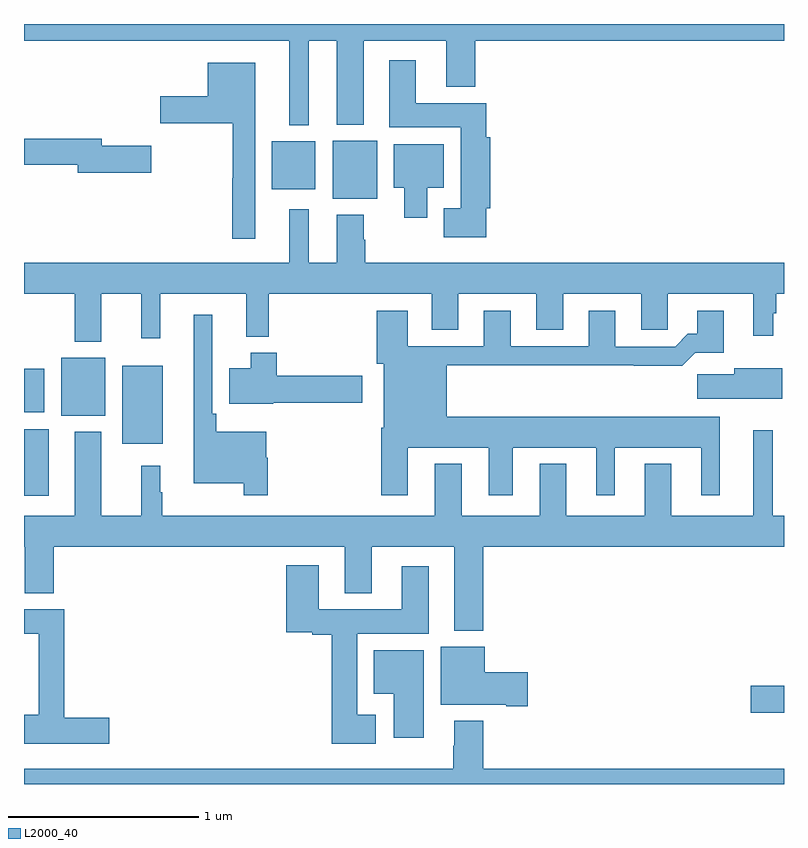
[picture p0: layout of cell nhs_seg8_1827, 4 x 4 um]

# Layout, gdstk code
import gdstk
lib = gdstk.Library(unit=1e-6, precision=1e-09)
def R(c, l, rs):  # rectangles x0, y0, x1, y1
    for r in rs: c.add(gdstk.rectangle(r[:2], r[2:], *l))
def P(c, l, *ps):  # polygons
    for p in ps: c.add(gdstk.Polygon(p, *l))
L2000_40 = (2000, 40)

nhs_seg8_1827 = lib.new_cell('nhs_seg8_1827')
R(nhs_seg8_1827, L2000_40, [(230.826,1134.274,231,1134.416), (227,1135.416,227.131,1135.768), (227.516,1135.691,227.731,1136.101), (227.195,1135.838,227.428,1136.143), (227,1135.856,227.107,1136.086), (228.626,1136.981,228.859,1137.286), (228.305,1137.029,228.532,1137.283)])
P(nhs_seg8_1827, L2000_40, [(228.499,1137.812),(228.647,1137.812),(228.647,1137.371),(228.787,1137.371),(228.787,1137.812),(229.223,1137.812),(229.223,1137.569),(229.376,1137.569),(229.376,1137.812),(231,1137.812),(231,1137.9),(227,1137.9),(227,1137.812),(228.395,1137.812),(228.395,1137.368),(228.499,1137.368)],
  [(229.433,1136.931),(229.454,1136.931),(229.454,1137.303),(229.433,1137.303),(229.433,1137.484),(229.063,1137.484),(229.063,1137.709),(228.923,1137.709),(228.923,1137.356),(229.298,1137.356),(229.298,1136.929),(229.208,1136.929),(229.208,1136.777),(229.433,1136.777)],
  [(228.217,1137.697),(227.966,1137.697),(227.966,1137.519),(227.718,1137.519),(227.718,1137.377),(228.098,1137.377),(228.098,1137.087),(228.096,1137.087),(228.096,1136.769),(228.217,1136.769)],
  [(227.671,1137.26),(227.41,1137.26),(227.41,1137.296),(227,1137.296),(227,1137.16),(227.282,1137.16),(227.282,1137.118),(227.671,1137.118)],
  [(229.123,1137.038),(229.21,1137.038),(229.21,1137.268),(228.947,1137.268),(228.947,1137.038),(229.001,1137.038),(229.001,1136.88),(229.123,1136.88)],
  [(227.407,1136.48),(227.618,1136.48),(227.618,1136.247),(227.717,1136.247),(227.717,1136.48),(228.17,1136.48),(228.17,1136.255),(228.287,1136.255),(228.287,1136.48),(229.145,1136.48),(229.145,1136.29),(229.285,1136.29),(229.285,1136.48),(229.697,1136.48),(229.697,1136.29),(229.837,1136.29),(229.837,1136.48),(230.249,1136.48),(230.249,1136.29),(230.388,1136.29),(230.388,1136.48),(230.837,1136.48),(230.837,1136.259),(230.944,1136.259),(230.944,1136.378),(230.959,1136.378),(230.959,1136.48),(231,1136.48),(231,1136.644),(228.795,1136.644),(228.795,1136.765),(228.787,1136.765),(228.787,1136.896),(228.647,1136.896),(228.647,1136.644),(228.499,1136.644),(228.499,1136.926),(228.395,1136.926),(228.395,1136.644),(227,1136.644),(227,1136.48),(227.267,1136.48),(227.267,1136.228),(227.407,1136.228)],
  [(229.021,1135.67),(229.445,1135.67),(229.445,1135.419),(229.573,1135.419),(229.573,1135.67),(230.012,1135.67),(230.012,1135.419),(230.11,1135.419),(230.11,1135.67),(230.564,1135.67),(230.564,1135.419),(230.662,1135.419),(230.662,1135.834),(229.225,1135.834),(229.225,1136.104),(230.209,1136.104),(230.209,1136.102),(230.465,1136.102),(230.534,1136.171),(230.683,1136.171),(230.683,1136.392),(230.543,1136.392),(230.543,1136.269),(230.494,1136.269),(230.427,1136.202),(230.113,1136.202),(230.113,1136.392),(229.973,1136.392),(229.973,1136.205),(229.561,1136.205),(229.561,1136.392),(229.421,1136.392),(229.421,1136.205),(229.021,1136.205),(229.021,1136.392),(228.857,1136.392),(228.857,1136.112),(228.893,1136.112),(228.893,1135.774),(228.881,1135.774),(228.881,1135.419),(229.021,1135.419)],
  [(228.284,1135.617),(228.274,1135.617),(228.274,1135.753),(228.011,1135.753),(228.011,1135.849),(227.991,1135.849),(227.991,1136.371),(227.894,1136.371),(227.894,1135.484),(228.156,1135.484),(228.156,1135.419),(228.284,1135.419)],
  [(228.312,1135.907),(228.781,1135.907),(228.781,1136.049),(228.329,1136.049),(228.329,1136.17),(228.194,1136.17),(228.194,1136.089),(228.08,1136.089),(228.08,1135.901),(228.312,1135.901)],
  [(230.992,1136.089),(230.738,1136.089),(230.738,1136.057),(230.544,1136.057),(230.544,1135.928),(230.992,1135.928)],
  [(229.418,1135.148),(231,1135.148),(231,1135.312),(230.941,1135.312),(230.941,1135.762),(230.837,1135.762),(230.837,1135.312),(230.407,1135.312),(230.407,1135.585),(230.267,1135.585),(230.267,1135.312),(229.855,1135.312),(229.855,1135.585),(229.715,1135.585),(229.715,1135.312),(229.303,1135.312),(229.303,1135.585),(229.163,1135.585),(229.163,1135.312),(227.728,1135.312),(227.728,1135.436),(227.716,1135.436),(227.716,1135.576),(227.618,1135.576),(227.618,1135.312),(227.407,1135.312),(227.407,1135.753),(227.267,1135.753),(227.267,1135.312),(227,1135.312),(227,1135.148),(227.003,1135.148),(227.003,1134.905),(227.156,1134.905),(227.156,1135.148),(228.689,1135.148),(228.689,1134.905),(228.829,1134.905),(228.829,1135.148),(229.265,1135.148),(229.265,1134.707),(229.418,1134.707)],
  [(228.85,1134.265),(228.754,1134.265),(228.754,1134.692),(229.129,1134.692),(229.129,1135.045),(228.989,1135.045),(228.989,1134.82),(228.55,1134.82),(228.55,1135.051),(228.38,1135.051),(228.38,1134.698),(228.516,1134.698),(228.516,1134.686),(228.62,1134.686),(228.62,1134.113),(228.85,1134.113)],
  [(227.449,1134.248),(227.213,1134.248),(227.213,1134.82),(227,1134.82),(227,1134.692),(227.078,1134.692),(227.078,1134.265),(227,1134.265),(227,1134.113),(227.449,1134.113)],
  [(229.651,1134.488),(229.426,1134.488),(229.426,1134.622),(229.193,1134.622),(229.193,1134.317),(229.538,1134.317),(229.538,1134.31),(229.651,1134.31)],
  [(229.105,1134.604),(228.842,1134.604),(228.842,1134.374),(228.947,1134.374),(228.947,1134.144),(229.105,1134.144)],
  [(231,1133.98),(229.418,1133.98),(229.418,1134.232),(229.265,1134.232),(229.265,1134.101),(229.258,1134.101),(229.258,1133.98),(227,1133.98),(227,1133.9),(231,1133.9)])

lib.write_gds('nhs_seg8_1827.gds')
